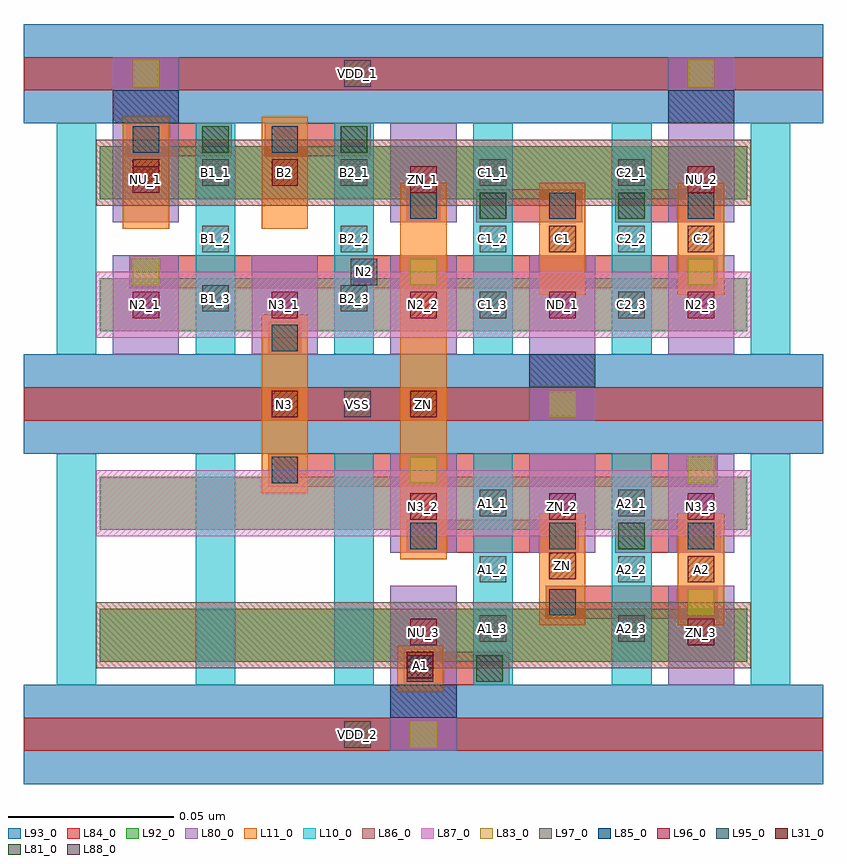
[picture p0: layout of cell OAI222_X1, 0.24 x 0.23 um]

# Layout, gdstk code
import gdstk
lib = gdstk.Library(unit=1e-6, precision=1e-09)
def R(c, l, rs):  # rectangles x0, y0, x1, y1
    for r in rs: c.add(gdstk.rectangle(r[:2], r[2:], *l))
def A(c, l, x, y, w, h, nx, ny, dx, dy):  # array of equal rectangles
    R(c, l, [(x+i*dx, y+j*dy, x+i*dx+w, y+j*dy+h) for i in range(nx) for j in range(ny)])
L10_0 = (10, 0)
L11_0 = (11, 0)
L31_0 = (31, 0)
L80_0 = (80, 0)
L81_0 = (81, 0)
L83_0 = (83, 0)
L84_0 = (84, 0)
L85_0 = (85, 0)
L86_0 = (86, 0)
L87_0 = (87, 0)
L88_0 = (88, 0)
L92_0 = (92, 0)
L93_0 = (93, 0)
L95_0 = (95, 0)
L96_0 = (96, 0)
L97_0 = (97, 0)

oai222_x1 = lib.new_cell('OAI222_X1')
A(oai222_x1, L10_0, -0.027, -0.085, 0.012, 0.07, 6, 2, 0.042, 0.1)
A(oai222_x1, L11_0, 0.077, 0.033, 0.014, 0.034, 3, 1, 0.042, 0)
R(oai222_x1, L11_0, [(0.076,-0.087,0.09,-0.073), (0.119,-0.067,0.133,-0.033), (0.119,-0.067,0.133,-0.033), (0.161,-0.067,0.175,-0.033), (0.077,-0.047,0.091,-0.013), (0.077,-0.047,0.091,-0.013), (0.035,-0.027,0.049,0.007), (0.035,-0.027,0.049,0.007), (0.077,-0.027,0.091,0.007), (0.077,-0.027,0.091,0.007), (0.035,-0.007,0.049,0.027), (0.035,-0.007,0.049,0.027), (0.077,-0.007,0.091,0.027), (0.077,-0.007,0.091,0.027), (0.077,0.013,0.091,0.047), (0.077,0.013,0.091,0.047), (0.077,0.033,0.091,0.067), (-0.007,0.053,0.007,0.087), (0.035,0.053,0.049,0.087)])
R(oai222_x1, L31_0, [(0.079,-0.083,0.087,-0.075), (0.164,-0.054,0.172,-0.046), (0.122,-0.053,0.13,-0.045), (0.038,-0.004,0.046,0.004), (0.08,-0.004,0.088,0.004), (0.122,0.046,0.13,0.054), (0.164,0.046,0.172,0.054), (-0.004,0.066,0.004,0.074), (0.038,0.066,0.046,0.074)])
A(oai222_x1, L80_0, 0.074, -0.045, 0.02, 0.03, 3, 1, 0.042, 0)
A(oai222_x1, L80_0, -0.01, 0.015, 0.02, 0.03, 5, 1, 0.042, 0)
A(oai222_x1, L80_0, -0.01, 0.055, 0.02, 0.03, 3, 1, 0.084, 0)
R(oai222_x1, L80_0, [(0.074,-0.105,0.094,-0.075), (0.074,-0.085,0.094,-0.055), (0.158,-0.085,0.178,-0.055), (0.116,-0.005,0.136,0.025), (-0.01,0.075,0.01,0.105), (0.158,0.075,0.178,0.105)])
R(oai222_x1, L81_0, [(0.1,-0.084,0.108,-0.076), (0.143,-0.044,0.151,-0.036), (0.101,0.056,0.109,0.064), (0.143,0.056,0.151,0.064), (0.017,0.076,0.025,0.084), (0.059,0.076,0.067,0.084)])
R(oai222_x1, L83_0, [(0.08,-0.104,0.088,-0.096), (0.08,-0.104,0.088,-0.096), (0.164,-0.064,0.172,-0.056), (0.164,-0.064,0.172,-0.056), (0.122,-0.044,0.13,-0.036), (0.122,-0.044,0.13,-0.036), (0.08,-0.024,0.088,-0.016), (0.08,-0.024,0.088,-0.016), (0.164,-0.024,0.172,-0.016), (0.164,-0.024,0.172,-0.016), (0.122,-0.004,0.13,0.004), (0.122,-0.004,0.13,0.004), (0.038,0.016,0.046,0.024), (0.038,0.016,0.046,0.024), (-0.004,0.036,0.004,0.044), (-0.004,0.036,0.004,0.044), (0.08,0.036,0.088,0.044), (0.08,0.036,0.088,0.044), (0.164,0.036,0.172,0.044), (0.164,0.036,0.172,0.044), (0.08,0.056,0.088,0.064), (0.08,0.056,0.088,0.064), (-0.004,0.096,0.004,0.104), (0.164,0.096,0.172,0.104)])
A(oai222_x1, L84_0, -0.037, -0.105, 0.242, 0.01, 1, 3, 0, 0.1)
R(oai222_x1, L84_0, [(0.078,-0.085,0.11,-0.075), (0.121,-0.065,0.152,-0.055), (0.121,-0.065,0.152,-0.055), (0.142,-0.065,0.173,-0.055), (0.142,-0.065,0.173,-0.055), (0.079,-0.045,0.11,-0.035), (0.079,-0.045,0.11,-0.035), (0.1,-0.045,0.131,-0.035), (0.1,-0.045,0.131,-0.035), (0.142,-0.045,0.174,-0.035), (0.037,-0.025,0.068,-0.015), (0.037,-0.025,0.068,-0.015), (0.058,-0.025,0.089,-0.015), (0.058,-0.025,0.089,-0.015), (0.079,-0.025,0.11,-0.015), (0.079,-0.025,0.11,-0.015), (0.1,-0.025,0.131,-0.015), (0.1,-0.025,0.131,-0.015), (0.121,-0.025,0.152,-0.015), (0.121,-0.025,0.152,-0.015), (0.142,-0.025,0.173,-0.015), (0.142,-0.025,0.173,-0.015), (0.037,0.015,0.047,0.025), (0.037,0.015,0.047,0.025), (-0.005,0.035,0.026,0.045), (-0.005,0.035,0.026,0.045), (0.016,0.035,0.047,0.045), (0.016,0.035,0.047,0.045), (0.037,0.035,0.068,0.045), (0.037,0.035,0.068,0.045), (0.058,0.035,0.089,0.045), (0.058,0.035,0.089,0.045), (0.079,0.035,0.11,0.045), (0.079,0.035,0.11,0.045), (0.1,0.035,0.131,0.045), (0.1,0.035,0.131,0.045), (0.121,0.035,0.152,0.045), (0.121,0.035,0.152,0.045), (0.142,0.035,0.173,0.045), (0.142,0.035,0.173,0.045), (0.079,0.055,0.089,0.065), (0.079,0.055,0.089,0.065), (0.1,0.055,0.132,0.065), (0.142,0.055,0.174,0.065), (-0.006,0.075,0.026,0.085), (0.036,0.075,0.068,0.085)])
A(oai222_x1, L85_0, 0.08, 0.056, 0.008, 0.008, 3, 1, 0.042, 0)
R(oai222_x1, L85_0, [(0.079,-0.084,0.087,-0.076), (0.122,-0.064,0.13,-0.056), (0.122,-0.064,0.13,-0.056), (0.08,-0.044,0.088,-0.036), (0.08,-0.044,0.088,-0.036), (0.122,-0.044,0.13,-0.036), (0.122,-0.044,0.13,-0.036), (0.164,-0.044,0.172,-0.036), (0.038,-0.024,0.046,-0.016), (0.038,-0.024,0.046,-0.016), (0.038,0.016,0.046,0.024), (0.038,0.016,0.046,0.024), (0.08,0.056,0.088,0.064), (-0.004,0.076,0.004,0.084), (0.038,0.076,0.046,0.084)])
R(oai222_x1, L86_0, [(-0.015,-0.08,0.183,-0.06), (-0.015,0.06,0.183,0.08)])
R(oai222_x1, L87_0, [(-0.015,-0.04,0.183,-0.02), (-0.015,0.02,0.183,0.04)])
A(oai222_x1, L88_0, 0.06, -0.104, 0.008, 0.008, 1, 3, 0, 0.1)
R(oai222_x1, L88_0, [(0.062,0.036,0.07,0.044)])
R(oai222_x1, L92_0, [(-0.014,-0.078,0.182,-0.062), (-0.014,-0.038,0.182,-0.022), (-0.014,0.022,0.182,0.038), (-0.014,0.062,0.182,0.078)])
A(oai222_x1, L93_0, -0.037, -0.115, 0.242, 0.03, 1, 3, 0, 0.1)
R(oai222_x1, L95_0, [(0.074,-0.095,0.094,-0.085), (0.116,0.005,0.136,0.015), (-0.01,0.085,0.01,0.095), (0.158,0.085,0.178,0.095)])
A(oai222_x1, L96_0, 0.08, -0.035, 0.008, 0.008, 3, 1, 0.042, 0)
A(oai222_x1, L96_0, -0.004, 0.026, 0.008, 0.008, 5, 1, 0.042, 0)
A(oai222_x1, L96_0, -0.004, 0.064, 0.008, 0.008, 3, 1, 0.084, 0)
R(oai222_x1, L96_0, [(0.08,-0.073,0.088,-0.065), (0.164,-0.073,0.172,-0.065)])
A(oai222_x1, L97_0, 0.017, 0.046, 0.008, 0.008, 4, 2, 0.042, 0.02)
R(oai222_x1, L97_0, [(0.101,-0.072,0.109,-0.064), (0.143,-0.072,0.151,-0.064), (0.101,-0.054,0.109,-0.046), (0.143,-0.054,0.151,-0.046), (0.101,-0.034,0.109,-0.026), (0.143,-0.034,0.151,-0.026), (0.101,0.026,0.109,0.034), (0.143,0.026,0.151,0.034), (0.017,0.028,0.025,0.036), (0.059,0.028,0.067,0.036)])
oai222_x1.add(gdstk.Label('B1_3', (0.021,0.032), layer=97, texttype=0))
oai222_x1.add(gdstk.Label('B1_2', (0.021,0.05), layer=97, texttype=0))
oai222_x1.add(gdstk.Label('B1_1', (0.021,0.07), layer=97, texttype=0))
oai222_x1.add(gdstk.Label('B2_3', (0.063,0.032), layer=97, texttype=0))
oai222_x1.add(gdstk.Label('B2_2', (0.063,0.05), layer=97, texttype=0))
oai222_x1.add(gdstk.Label('B2_1', (0.063,0.07), layer=97, texttype=0))
oai222_x1.add(gdstk.Label('C2_3', (0.147,0.03), layer=97, texttype=0))
oai222_x1.add(gdstk.Label('C2_2', (0.147,0.05), layer=97, texttype=0))
oai222_x1.add(gdstk.Label('C2_1', (0.147,0.07), layer=97, texttype=0))
oai222_x1.add(gdstk.Label('C1_3', (0.105,0.03), layer=97, texttype=0))
oai222_x1.add(gdstk.Label('C1_2', (0.105,0.05), layer=97, texttype=0))
oai222_x1.add(gdstk.Label('C1_1', (0.105,0.07), layer=97, texttype=0))
oai222_x1.add(gdstk.Label('A2_3', (0.147,-0.068), layer=97, texttype=0))
oai222_x1.add(gdstk.Label('A2_2', (0.147,-0.05), layer=97, texttype=0))
oai222_x1.add(gdstk.Label('A2_1', (0.147,-0.03), layer=97, texttype=0))
oai222_x1.add(gdstk.Label('A1_1', (0.105,-0.03), layer=97, texttype=0))
oai222_x1.add(gdstk.Label('A1_2', (0.105,-0.05), layer=97, texttype=0))
oai222_x1.add(gdstk.Label('A1_3', (0.105,-0.068), layer=97, texttype=0))
oai222_x1.add(gdstk.Label('N2_1', (0,0.03), layer=96, texttype=0))
oai222_x1.add(gdstk.Label('NU_1', (0,0.068), layer=96, texttype=0))
oai222_x1.add(gdstk.Label('N2_2', (0.084,0.03), layer=96, texttype=0))
oai222_x1.add(gdstk.Label('ZN_1', (0.084,0.068), layer=96, texttype=0))
oai222_x1.add(gdstk.Label('NU_2', (0.168,0.068), layer=96, texttype=0))
oai222_x1.add(gdstk.Label('N2_3', (0.168,0.03), layer=96, texttype=0))
oai222_x1.add(gdstk.Label('ND_1', (0.126,0.03), layer=96, texttype=0))
oai222_x1.add(gdstk.Label('N3_1', (0.042,0.03), layer=96, texttype=0))
oai222_x1.add(gdstk.Label('NU_3', (0.084,-0.069), layer=96, texttype=0))
oai222_x1.add(gdstk.Label('N3_2', (0.084,-0.031), layer=96, texttype=0))
oai222_x1.add(gdstk.Label('ZN_3', (0.168,-0.069), layer=96, texttype=0))
oai222_x1.add(gdstk.Label('N3_3', (0.168,-0.031), layer=96, texttype=0))
oai222_x1.add(gdstk.Label('ZN_2', (0.126,-0.031), layer=96, texttype=0))
oai222_x1.add(gdstk.Label('N2', (0.066,0.04), layer=88, texttype=0))
oai222_x1.add(gdstk.Label('VSS', (0.064,0), layer=88, texttype=0))
oai222_x1.add(gdstk.Label('VDD_1', (0.064,0.1), layer=88, texttype=0))
oai222_x1.add(gdstk.Label('VDD_2', (0.064,-0.1), layer=88, texttype=0))
oai222_x1.add(gdstk.Label('ZN', (0.084,0), layer=31, texttype=0))
oai222_x1.add(gdstk.Label('ZN', (0.126,-0.049), layer=31, texttype=0))
oai222_x1.add(gdstk.Label('N3', (0.042,0), layer=31, texttype=0))
oai222_x1.add(gdstk.Label('B1', (0,0.07), layer=31, texttype=0))
oai222_x1.add(gdstk.Label('B2', (0.042,0.07), layer=31, texttype=0))
oai222_x1.add(gdstk.Label('C2', (0.168,0.05), layer=31, texttype=0))
oai222_x1.add(gdstk.Label('C1', (0.126,0.05), layer=31, texttype=0))
oai222_x1.add(gdstk.Label('A2', (0.168,-0.05), layer=31, texttype=0))
oai222_x1.add(gdstk.Label('A1', (0.083,-0.079), layer=31, texttype=0))

lib.write_gds('OAI222_X1.gds')
